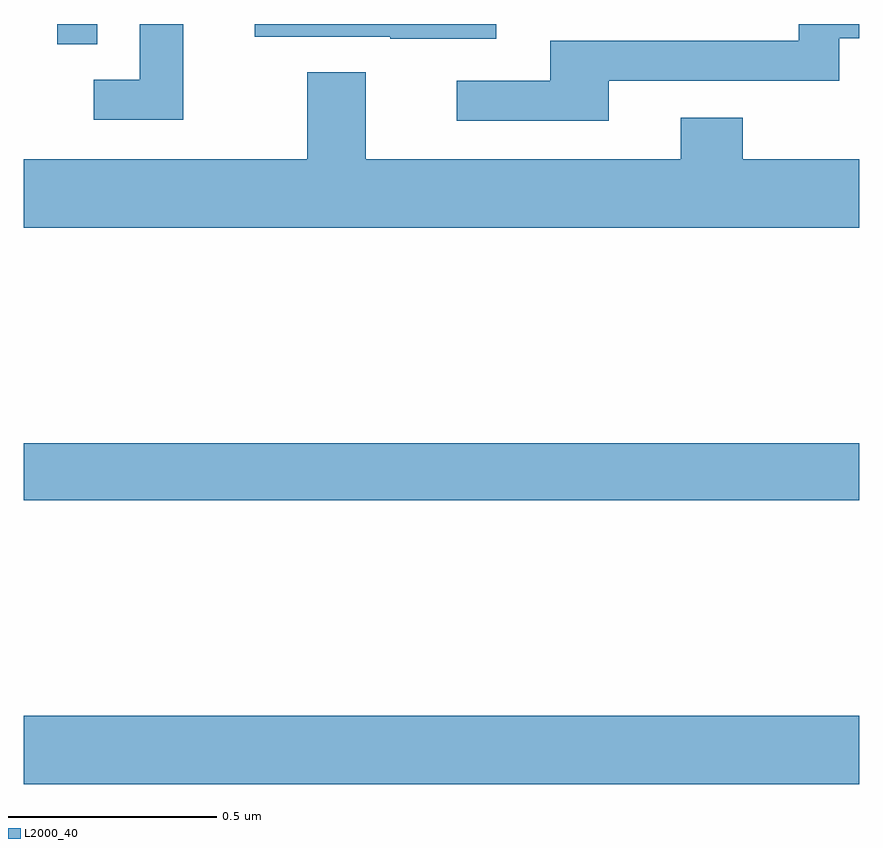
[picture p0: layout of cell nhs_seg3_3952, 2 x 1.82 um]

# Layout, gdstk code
import gdstk
lib = gdstk.Library(unit=1e-6, precision=1e-09)
def R(c, l, rs):  # rectangles x0, y0, x1, y1
    for r in rs: c.add(gdstk.rectangle(r[:2], r[2:], *l))
def P(c, l, *ps):  # polygons
    for p in ps: c.add(gdstk.Polygon(p, *l))
L2000_40 = (2000, 40)

nhs_seg3_3952 = lib.new_cell('nhs_seg3_3952')
R(nhs_seg3_3952, L2000_40, [(160,703.58,162,703.744), (160,704.26,162,704.396), (160.08,705.352,160.176,705.4)])
P(nhs_seg3_3952, L2000_40, [(160.381,705.4),(160.277,705.4),(160.277,705.267),(160.167,705.267),(160.167,705.171),(160.381,705.171)],
  [(161.131,705.4),(160.553,705.4),(160.553,705.369),(160.877,705.369),(160.877,705.365),(161.131,705.365)],
  [(161.401,705.264),(161.952,705.264),(161.952,705.366),(162,705.366),(162,705.4),(161.856,705.4),(161.856,705.36),(161.261,705.36),(161.261,705.264),(161.037,705.264),(161.037,705.168),(161.401,705.168)],
  [(162,705.076),(161.721,705.076),(161.721,705.175),(161.573,705.175),(161.573,705.076),(160.819,705.076),(160.819,705.284),(160.679,705.284),(160.679,705.076),(160,705.076),(160,704.912),(162,704.912)])

lib.write_gds('nhs_seg3_3952.gds')
